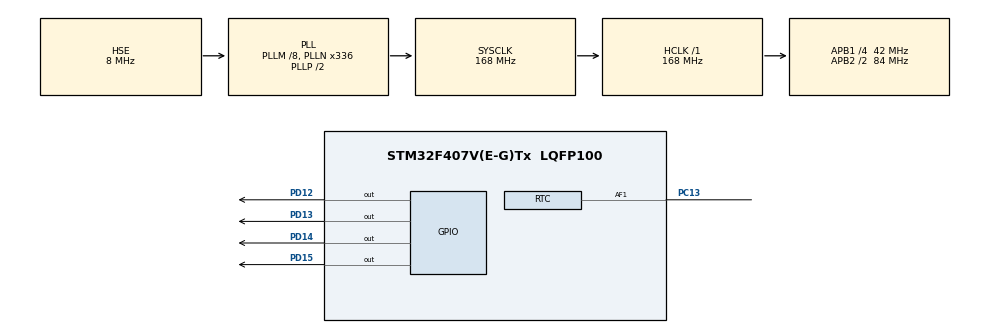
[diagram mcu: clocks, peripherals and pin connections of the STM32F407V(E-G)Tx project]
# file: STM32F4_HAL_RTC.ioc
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Mcu.Family=STM32F4
Mcu.Name=STM32F407V(E-G)Tx
Mcu.Package=LQFP100
NVIC.PriorityGroup=NVIC_PRIORITYGROUP_0
NVIC.RTC_Alarm_IRQn=true\:0\:0\:false\:false\:true\:true
PC13-ANTI_TAMP.Mode=AlarmA_RoutedAF
PC13-ANTI_TAMP.Signal=RTC_AF1
PD12.Signal=GPIO_Output
PD13.Signal=GPIO_Output
PD14.Signal=GPIO_Output
PD15.Signal=GPIO_Output
PH0-OSC_IN.Mode=HSE-External-Oscillator
PH0-OSC_IN.Signal=RCC_OSC_IN
PH1-OSC_OUT.Mode=HSE-External-Oscillator
PH1-OSC_OUT.Signal=RCC_OSC_OUT
ProjectManager.HeapSize=0x200
ProjectManager.StackSize=0x400
ProjectManager.TargetToolchain=TrueSTUDIO
RCC.48MHZClocksFreq_Value=48000000
RCC.AHBFreq_Value=168000000
RCC.APB1CLKDivider=RCC_HCLK_DIV4
RCC.APB1Freq_Value=42000000
RCC.APB1TimFreq_Value=84000000
RCC.APB2CLKDivider=RCC_HCLK_DIV2
RCC.APB2Freq_Value=84000000
RCC.APB2TimFreq_Value=168000000
RCC.CortexFreq_Value=168000000
RCC.HCLKFreq_Value=168000000
RCC.HSE_VALUE=8000000
RCC.HSI_VALUE=16000000
RCC.LSE_VALUE=32768
RCC.PLLM=8
RCC.PLLN=336
RCC.PLLQ=7
RCC.PLLSourceVirtual=RCC_PLLSOURCE_HSE
RCC.RCC_RTC_Clock_Source_FROM_HSE=RCC_RTCCLKSOURCE_HSE_DIV8
RCC.SYSCLKFreq_VALUE=168000000
RCC.SYSCLKSource=RCC_SYSCLKSOURCE_PLLCLK
RCC.VCOOutputFreq_Value=336000000
RTC.Alarm=RTC_ALARM_A
RTC.OutPutType=RTC_OUTPUT_TYPE_PUSHPULL
RTC.SynchPrediv=249
VP_RTC_VS_RTC_Activate.Mode=RTC_Enabled
VP_RTC_VS_RTC_Calendar.Mode=RTC_Calendar
board=STM32F4DISCOVERY

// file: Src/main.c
/**
  ******************************************************************************
  * @file           : main.c
  * @brief          : Main program body
  ******************************************************************************
  ** This notice applies to any and all portions of this file
  * that are not between comment pairs USER CODE BEGIN and
  * USER CODE END. Other portions of this file, whether
  * inserted by the user or by software development tools
  * are owned by their respective copyright owners.
  *
  * COPYRIGHT(c) 2019 STMicroelectronics
  *
  * Redistribution and use in source and binary forms, with or without modification,
  * are permitted provided that the following conditions are met:
  *   1. Redistributions of source code must retain the above copyright notice,
  *      this list of conditions and the following disclaimer.
  *   2. Redistributions in binary form must reproduce the above copyright notice,
  *      this list of conditions and the following disclaimer in the documentation
  *      and/or other materials provided with the distribution.
  *   3. Neither the name of STMicroelectronics nor the names of its contributors
  *      may be used to endorse or promote products derived from this software
  *      without specific prior written permission.
  *
  * THIS SOFTWARE IS PROVIDED BY THE COPYRIGHT HOLDERS AND CONTRIBUTORS "AS IS"
  * AND ANY EXPRESS OR IMPLIED WARRANTIES, INCLUDING, BUT NOT LIMITED TO, THE
  * IMPLIED WARRANTIES OF MERCHANTABILITY AND FITNESS FOR A PARTICULAR PURPOSE ARE
  * DISCLAIMED. IN NO EVENT SHALL THE COPYRIGHT HOLDER OR CONTRIBUTORS BE LIABLE
  * FOR ANY DIRECT, INDIRECT, INCIDENTAL, SPECIAL, EXEMPLARY, OR CONSEQUENTIAL
  * DAMAGES (INCLUDING, BUT NOT LIMITED TO, PROCUREMENT OF SUBSTITUTE GOODS OR
  * SERVICES; LOSS OF USE, DATA, OR PROFITS; OR BUSINESS INTERRUPTION) HOWEVER
  * CAUSED AND ON ANY THEORY OF LIABILITY, WHETHER IN CONTRACT, STRICT LIABILITY,
  * OR TORT (INCLUDING NEGLIGENCE OR OTHERWISE) ARISING IN ANY WAY OUT OF THE USE
  * OF THIS SOFTWARE, EVEN IF ADVISED OF THE POSSIBILITY OF SUCH DAMAGE.
  *
  ******************************************************************************
  */
#include "main.h"
#include "stm32f4xx_hal.h"

RTC_HandleTypeDef hrtc;

/* USER CODE BEGIN PV */
/* Private variables ---------------------------------------------------------*/
RTC_TimeTypeDef sTime;
RTC_DateTypeDef sDate;
RTC_AlarmTypeDef sAlarm;
/* USER CODE END PV */

void SystemClock_Config(void);
static void MX_GPIO_Init(void);
static void MX_RTC_Init(void);

/* USER CODE BEGIN PFP */
/* Private function prototypes -----------------------------------------------*/

/* USER CODE END PFP */

/* USER CODE BEGIN 0 */
void HAL_RTC_AlarmAEventCallback(RTC_HandleTypeDef *hrtc)
{
	HAL_GPIO_TogglePin(GPIOD, GPIO_PIN_15);
}

/* USER CODE END 0 */

int main(void)
{

  /* MCU Configuration----------------------------------------------------------*/

  /* Reset of all peripherals, Initializes the Flash interface and the Systick. */
  HAL_Init();

  /* Configure the system clock */
  SystemClock_Config();

  /* Initialize all configured peripherals */
  MX_GPIO_Init();
  MX_RTC_Init();
  /* USER CODE BEGIN 2 */
  /* 12:12:12 */
  sTime.Hours = 0x12;
  sTime.Minutes = 0x12;
  sTime.Seconds = 0x12;
  sTime.TimeFormat = RTC_HOURFORMAT_24;

  /* 19-12-12 */
  sDate.Year = 0x19;
  sDate.Month = 0x12;
  sDate.Date = 0x12;
  sDate.WeekDay = RTC_WEEKDAY_THURSDAY;

  /* Alarm every minute @ XX:XX:20 */
  sAlarm.AlarmTime.Seconds = 0x20;
  sAlarm.AlarmMask = RTC_ALARMMASK_DATEWEEKDAY|RTC_ALARMMASK_HOURS |RTC_ALARMMASK_MINUTES;
  sAlarm.Alarm = RTC_ALARM_A;

  HAL_RTC_SetTime(&hrtc, &sTime, RTC_FORMAT_BCD);
  HAL_RTC_SetDate(&hrtc, &sDate, RTC_FORMAT_BCD);
  HAL_RTC_SetAlarm_IT(&hrtc, &sAlarm, RTC_FORMAT_BCD);

  /* USER CODE END 2 */

  /* Infinite loop */
  while (1)
  {

  /* USER CODE BEGIN 3 */
	  HAL_RTC_GetTime(&hrtc, &sTime, RTC_FORMAT_BCD);
	  HAL_RTC_GetDate(&hrtc, &sDate, RTC_FORMAT_BCD);

	  HAL_Delay(1000);
  }
  /* USER CODE END 3 */

}

void SystemClock_Config(void)
{

  RCC_OscInitTypeDef RCC_OscInitStruct;
  RCC_ClkInitTypeDef RCC_ClkInitStruct;
  RCC_PeriphCLKInitTypeDef PeriphClkInitStruct;

    /**Configure the main internal regulator output voltage
    */
  __HAL_RCC_PWR_CLK_ENABLE();

  __HAL_PWR_VOLTAGESCALING_CONFIG(PWR_REGULATOR_VOLTAGE_SCALE1);

    /**Initializes the CPU, AHB and APB busses clocks
    */
  RCC_OscInitStruct.OscillatorType = RCC_OSCILLATORTYPE_LSI|RCC_OSCILLATORTYPE_HSE;
  RCC_OscInitStruct.HSEState = RCC_HSE_ON;
  RCC_OscInitStruct.LSIState = RCC_LSI_ON;
  RCC_OscInitStruct.PLL.PLLState = RCC_PLL_ON;
  RCC_OscInitStruct.PLL.PLLSource = RCC_PLLSOURCE_HSE;
  RCC_OscInitStruct.PLL.PLLM = 8;
  RCC_OscInitStruct.PLL.PLLN = 336;
  RCC_OscInitStruct.PLL.PLLP = RCC_PLLP_DIV2;
  RCC_OscInitStruct.PLL.PLLQ = 7;
  if (HAL_RCC_OscConfig(&RCC_OscInitStruct) != HAL_OK)
  {
    _Error_Handler(__FILE__, __LINE__);
  }

    /**Initializes the CPU, AHB and APB busses clocks
    */
  RCC_ClkInitStruct.ClockType = RCC_CLOCKTYPE_HCLK|RCC_CLOCKTYPE_SYSCLK
                              |RCC_CLOCKTYPE_PCLK1|RCC_CLOCKTYPE_PCLK2;
  RCC_ClkInitStruct.SYSCLKSource = RCC_SYSCLKSOURCE_PLLCLK;
  RCC_ClkInitStruct.AHBCLKDivider = RCC_SYSCLK_DIV1;
  RCC_ClkInitStruct.APB1CLKDivider = RCC_HCLK_DIV4;
  RCC_ClkInitStruct.APB2CLKDivider = RCC_HCLK_DIV2;

  if (HAL_RCC_ClockConfig(&RCC_ClkInitStruct, FLASH_LATENCY_5) != HAL_OK)
  {
    _Error_Handler(__FILE__, __LINE__);
  }

  PeriphClkInitStruct.PeriphClockSelection = RCC_PERIPHCLK_RTC;
  PeriphClkInitStruct.RTCClockSelection = RCC_RTCCLKSOURCE_LSI;
  if (HAL_RCCEx_PeriphCLKConfig(&PeriphClkInitStruct) != HAL_OK)
  {
    _Error_Handler(__FILE__, __LINE__);
  }

    /**Configure the Systick interrupt time
    */
  HAL_SYSTICK_Config(HAL_RCC_GetHCLKFreq()/1000);

    /**Configure the Systick
    */
  HAL_SYSTICK_CLKSourceConfig(SYSTICK_CLKSOURCE_HCLK);

  /* SysTick_IRQn interrupt configuration */
  HAL_NVIC_SetPriority(SysTick_IRQn, 0, 0);
}

/* RTC init function */
static void MX_RTC_Init(void)
{

    /**Initialize RTC Only
    */
  hrtc.Instance = RTC;
  hrtc.Init.HourFormat = RTC_HOURFORMAT_24;
  hrtc.Init.AsynchPrediv = 127;
  hrtc.Init.SynchPrediv = 249;
  hrtc.Init.OutPut = RTC_OUTPUT_ALARMA;
  hrtc.Init.OutPutPolarity = RTC_OUTPUT_POLARITY_HIGH;
  hrtc.Init.OutPutType = RTC_OUTPUT_TYPE_PUSHPULL;
  if (HAL_RTC_Init(&hrtc) != HAL_OK)
  {
    _Error_Handler(__FILE__, __LINE__);
  }

    /**Initialize RTC and set the Time and Date
    */
  sTime.Hours = 0x0;
  sTime.Minutes = 0x0;
  sTime.Seconds = 0x0;
  sTime.DayLightSaving = RTC_DAYLIGHTSAVING_NONE;
  sTime.StoreOperation = RTC_STOREOPERATION_RESET;
  if (HAL_RTC_SetTime(&hrtc, &sTime, RTC_FORMAT_BCD) != HAL_OK)
  {
    _Error_Handler(__FILE__, __LINE__);
  }

  sDate.WeekDay = RTC_WEEKDAY_MONDAY;
  sDate.Month = RTC_MONTH_JANUARY;
  sDate.Date = 0x1;
  sDate.Year = 0x0;

  if (HAL_RTC_SetDate(&hrtc, &sDate, RTC_FORMAT_BCD) != HAL_OK)
  {
    _Error_Handler(__FILE__, __LINE__);
  }

    /**Enable the Alarm A
    */
  sAlarm.AlarmTime.Hours = 0x0;
  sAlarm.AlarmTime.Minutes = 0x0;
  sAlarm.AlarmTime.Seconds = 0x0;
  sAlarm.AlarmTime.SubSeconds = 0x0;
  sAlarm.AlarmTime.DayLightSaving = RTC_DAYLIGHTSAVING_NONE;
  sAlarm.AlarmTime.StoreOperation = RTC_STOREOPERATION_RESET;
  sAlarm.AlarmMask = RTC_ALARMMASK_NONE;
  sAlarm.AlarmSubSecondMask = RTC_ALARMSUBSECONDMASK_ALL;
  sAlarm.AlarmDateWeekDaySel = RTC_ALARMDATEWEEKDAYSEL_DATE;
  sAlarm.AlarmDateWeekDay = 0x1;
  sAlarm.Alarm = RTC_ALARM_A;
  if (HAL_RTC_SetAlarm_IT(&hrtc, &sAlarm, RTC_FORMAT_BCD) != HAL_OK)
  {
    _Error_Handler(__FILE__, __LINE__);
  }

}

/** Configure pins as
        * Analog
        * Input
        * Output
        * EVENT_OUT
        * EXTI
*/
static void MX_GPIO_Init(void)
{

  GPIO_InitTypeDef GPIO_InitStruct;

  /* GPIO Ports Clock Enable */
  __HAL_RCC_GPIOC_CLK_ENABLE();
  __HAL_RCC_GPIOH_CLK_ENABLE();
  __HAL_RCC_GPIOD_CLK_ENABLE();

  /*Configure GPIO pin Output Level */
  HAL_GPIO_WritePin(GPIOD, GPIO_PIN_12|GPIO_PIN_13|GPIO_PIN_14|GPIO_PIN_15, GPIO_PIN_RESET);

  /*Configure GPIO pins : PD12 PD13 PD14 PD15 */
  GPIO_InitStruct.Pin = GPIO_PIN_12|GPIO_PIN_13|GPIO_PIN_14|GPIO_PIN_15;
  GPIO_InitStruct.Mode = GPIO_MODE_OUTPUT_PP;
  GPIO_InitStruct.Pull = GPIO_NOPULL;
  GPIO_InitStruct.Speed = GPIO_SPEED_FREQ_LOW;
  HAL_GPIO_Init(GPIOD, &GPIO_InitStruct);

}

void _Error_Handler(char *file, int line)
{
  while(1)
  {
  }
}

/************************ (C) COPYRIGHT STMicroelectronics *****END OF FILE****/
